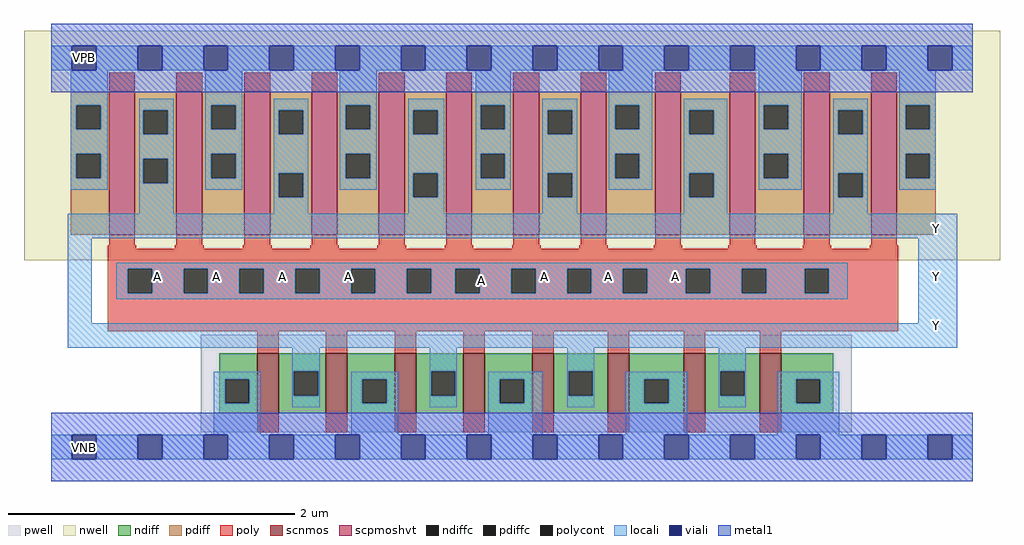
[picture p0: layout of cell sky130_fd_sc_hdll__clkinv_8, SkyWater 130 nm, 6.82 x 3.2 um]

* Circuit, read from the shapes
.subckt sky130_fd_sc_hdll__clkinv_8 A VGND VNB VPB VPWR Y
XM1 Y A VGND VNB sky130_fd_pr__nfet_01v8 w=0.42 l=0.15 m=8
XM2 Y A VPWR VPB sky130_fd_pr__pfet_01v8_hvt w=1 l=0.18 m=12
.ends

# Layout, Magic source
magic
tech sky130A
magscale 1 2
<< nwell >>
rect -38 261 1326 582
<< pwell >>
rect 209 21 1119 157
rect 30 -17 64 17
<< scnmos >>
rect 288 47 318 131
rect 384 47 414 131
rect 480 47 510 131
rect 576 47 606 131
rect 672 47 702 131
rect 778 47 808 131
rect 884 47 914 131
rect 990 47 1020 131
<< scpmoshvt >>
rect 81 297 117 497
rect 175 297 211 497
rect 270 297 306 497
rect 364 297 400 497
rect 458 297 494 497
rect 552 297 588 497
rect 646 297 682 497
rect 740 297 776 497
rect 844 297 880 497
rect 948 297 984 497
rect 1052 297 1088 497
rect 1146 297 1182 497
<< ndiff >>
rect 235 95 288 131
rect 235 61 243 95
rect 277 61 288 95
rect 235 47 288 61
rect 318 106 384 131
rect 318 72 339 106
rect 373 72 384 106
rect 318 47 384 72
rect 414 95 480 131
rect 414 61 435 95
rect 469 61 480 95
rect 414 47 480 61
rect 510 106 576 131
rect 510 72 531 106
rect 565 72 576 106
rect 510 47 576 72
rect 606 95 672 131
rect 606 61 627 95
rect 661 61 672 95
rect 606 47 672 61
rect 702 106 778 131
rect 702 72 723 106
rect 757 72 778 106
rect 702 47 778 72
rect 808 95 884 131
rect 808 61 829 95
rect 863 61 884 95
rect 808 47 884 61
rect 914 106 990 131
rect 914 72 935 106
rect 969 72 990 106
rect 914 47 990 72
rect 1020 95 1093 131
rect 1020 61 1041 95
rect 1075 61 1093 95
rect 1020 47 1093 61
<< pdiff >>
rect 27 478 81 497
rect 27 444 35 478
rect 69 444 81 478
rect 27 410 81 444
rect 27 376 35 410
rect 69 376 81 410
rect 27 297 81 376
rect 117 471 175 497
rect 117 437 129 471
rect 163 437 175 471
rect 117 403 175 437
rect 117 369 129 403
rect 163 369 175 403
rect 117 297 175 369
rect 211 478 270 497
rect 211 444 224 478
rect 258 444 270 478
rect 211 410 270 444
rect 211 376 224 410
rect 258 376 270 410
rect 211 297 270 376
rect 306 471 364 497
rect 306 437 318 471
rect 352 437 364 471
rect 306 383 364 437
rect 306 349 318 383
rect 352 349 364 383
rect 306 297 364 349
rect 400 478 458 497
rect 400 444 412 478
rect 446 444 458 478
rect 400 410 458 444
rect 400 376 412 410
rect 446 376 458 410
rect 400 297 458 376
rect 494 471 552 497
rect 494 437 506 471
rect 540 437 552 471
rect 494 383 552 437
rect 494 349 506 383
rect 540 349 552 383
rect 494 297 552 349
rect 588 478 646 497
rect 588 444 600 478
rect 634 444 646 478
rect 588 410 646 444
rect 588 376 600 410
rect 634 376 646 410
rect 588 297 646 376
rect 682 471 740 497
rect 682 437 694 471
rect 728 437 740 471
rect 682 383 740 437
rect 682 349 694 383
rect 728 349 740 383
rect 682 297 740 349
rect 776 478 844 497
rect 776 444 788 478
rect 822 444 844 478
rect 776 410 844 444
rect 776 376 788 410
rect 822 376 844 410
rect 776 297 844 376
rect 880 471 948 497
rect 880 437 892 471
rect 926 437 948 471
rect 880 383 948 437
rect 880 349 892 383
rect 926 349 948 383
rect 880 297 948 349
rect 984 478 1052 497
rect 984 444 996 478
rect 1030 444 1052 478
rect 984 410 1052 444
rect 984 376 996 410
rect 1030 376 1052 410
rect 984 297 1052 376
rect 1088 471 1146 497
rect 1088 437 1100 471
rect 1134 437 1146 471
rect 1088 383 1146 437
rect 1088 349 1100 383
rect 1134 349 1146 383
rect 1088 297 1146 349
rect 1182 478 1236 497
rect 1182 444 1194 478
rect 1228 444 1236 478
rect 1182 410 1236 444
rect 1182 376 1194 410
rect 1228 376 1236 410
rect 1182 297 1236 376
<< ndiffc >>
rect 243 61 277 95
rect 339 72 373 106
rect 435 61 469 95
rect 531 72 565 106
rect 627 61 661 95
rect 723 72 757 106
rect 829 61 863 95
rect 935 72 969 106
rect 1041 61 1075 95
<< pdiffc >>
rect 35 444 69 478
rect 35 376 69 410
rect 129 437 163 471
rect 129 369 163 403
rect 224 444 258 478
rect 224 376 258 410
rect 318 437 352 471
rect 318 349 352 383
rect 412 444 446 478
rect 412 376 446 410
rect 506 437 540 471
rect 506 349 540 383
rect 600 444 634 478
rect 600 376 634 410
rect 694 437 728 471
rect 694 349 728 383
rect 788 444 822 478
rect 788 376 822 410
rect 892 437 926 471
rect 892 349 926 383
rect 996 444 1030 478
rect 996 376 1030 410
rect 1100 437 1134 471
rect 1100 349 1134 383
rect 1194 444 1228 478
rect 1194 376 1228 410
<< poly >>
rect 81 497 117 523
rect 175 497 211 523
rect 270 497 306 523
rect 364 497 400 523
rect 458 497 494 523
rect 552 497 588 523
rect 646 497 682 523
rect 740 497 776 523
rect 844 497 880 523
rect 948 497 984 523
rect 1052 497 1088 523
rect 1146 497 1182 523
rect 81 282 117 297
rect 175 282 211 297
rect 270 282 306 297
rect 364 282 400 297
rect 458 282 494 297
rect 552 282 588 297
rect 646 282 682 297
rect 740 282 776 297
rect 844 282 880 297
rect 948 282 984 297
rect 1052 282 1088 297
rect 1146 282 1182 297
rect 79 277 119 282
rect 173 277 213 282
rect 268 277 308 282
rect 362 277 402 282
rect 456 277 496 282
rect 550 277 590 282
rect 644 277 684 282
rect 738 277 778 282
rect 842 277 882 282
rect 946 277 986 282
rect 1050 277 1090 282
rect 1144 277 1184 282
rect 79 249 1184 277
rect 79 215 107 249
rect 141 215 185 249
rect 219 215 263 249
rect 297 215 341 249
rect 375 215 419 249
rect 453 215 497 249
rect 531 215 565 249
rect 599 215 643 249
rect 677 215 721 249
rect 755 215 799 249
rect 833 215 887 249
rect 921 215 965 249
rect 999 215 1053 249
rect 1087 215 1184 249
rect 79 162 1184 215
rect 288 131 318 162
rect 384 131 414 162
rect 480 131 510 162
rect 576 131 606 162
rect 672 131 702 162
rect 778 131 808 162
rect 884 131 914 162
rect 990 131 1020 162
rect 288 21 318 47
rect 384 21 414 47
rect 480 21 510 47
rect 576 21 606 47
rect 672 21 702 47
rect 778 21 808 47
rect 884 21 914 47
rect 990 21 1020 47
<< polycont >>
rect 107 215 141 249
rect 185 215 219 249
rect 263 215 297 249
rect 341 215 375 249
rect 419 215 453 249
rect 497 215 531 249
rect 565 215 599 249
rect 643 215 677 249
rect 721 215 755 249
rect 799 215 833 249
rect 887 215 921 249
rect 965 215 999 249
rect 1053 215 1087 249
<< locali >>
rect 0 527 29 561
rect 63 527 121 561
rect 155 527 213 561
rect 247 527 305 561
rect 339 527 397 561
rect 431 527 489 561
rect 523 527 581 561
rect 615 527 673 561
rect 707 527 765 561
rect 799 527 857 561
rect 891 527 949 561
rect 983 527 1041 561
rect 1075 527 1133 561
rect 1167 527 1225 561
rect 1259 527 1288 561
rect 27 478 79 527
rect 27 444 35 478
rect 69 444 79 478
rect 27 410 79 444
rect 27 376 35 410
rect 69 376 79 410
rect 27 360 79 376
rect 123 471 171 487
rect 123 437 129 471
rect 163 437 171 471
rect 123 403 171 437
rect 123 369 129 403
rect 163 369 171 403
rect 123 326 171 369
rect 215 478 267 527
rect 215 444 224 478
rect 258 444 267 478
rect 215 410 267 444
rect 215 376 224 410
rect 258 376 267 410
rect 215 360 267 376
rect 311 471 359 487
rect 311 437 318 471
rect 352 437 359 471
rect 311 383 359 437
rect 311 349 318 383
rect 352 349 359 383
rect 403 478 455 527
rect 403 444 412 478
rect 446 444 455 478
rect 403 410 455 444
rect 403 376 412 410
rect 446 376 455 410
rect 403 360 455 376
rect 499 471 549 487
rect 499 437 506 471
rect 540 437 549 471
rect 499 383 549 437
rect 311 326 359 349
rect 499 349 506 383
rect 540 349 549 383
rect 593 478 642 527
rect 593 444 600 478
rect 634 444 642 478
rect 593 410 642 444
rect 593 376 600 410
rect 634 376 642 410
rect 593 360 642 376
rect 686 471 735 487
rect 686 437 694 471
rect 728 437 735 471
rect 686 383 735 437
rect 499 326 549 349
rect 686 349 694 383
rect 728 349 735 383
rect 779 478 840 527
rect 779 444 788 478
rect 822 444 840 478
rect 779 410 840 444
rect 779 376 788 410
rect 822 376 840 410
rect 779 360 840 376
rect 884 471 945 487
rect 884 437 892 471
rect 926 437 945 471
rect 884 383 945 437
rect 686 326 735 349
rect 884 349 892 383
rect 926 349 945 383
rect 989 478 1049 527
rect 989 444 996 478
rect 1030 444 1049 478
rect 989 410 1049 444
rect 989 376 996 410
rect 1030 376 1049 410
rect 989 360 1049 376
rect 1093 471 1141 487
rect 1093 437 1100 471
rect 1134 437 1141 471
rect 1093 383 1141 437
rect 884 326 945 349
rect 1093 349 1100 383
rect 1134 349 1141 383
rect 1185 478 1236 527
rect 1185 444 1194 478
rect 1228 444 1236 478
rect 1185 410 1236 444
rect 1185 376 1194 410
rect 1228 376 1236 410
rect 1185 360 1236 376
rect 1093 326 1141 349
rect 23 292 1266 326
rect 23 173 57 292
rect 91 249 1113 258
rect 91 215 107 249
rect 141 215 185 249
rect 219 215 263 249
rect 297 215 341 249
rect 375 215 419 249
rect 453 215 497 249
rect 531 215 565 249
rect 599 215 643 249
rect 677 215 721 249
rect 755 215 799 249
rect 833 215 887 249
rect 921 215 965 249
rect 999 215 1053 249
rect 1087 215 1113 249
rect 91 207 1113 215
rect 1212 173 1266 292
rect 23 139 1266 173
rect 337 106 375 139
rect 227 95 293 105
rect 227 61 243 95
rect 277 61 293 95
rect 227 17 293 61
rect 337 72 339 106
rect 373 72 375 106
rect 529 106 567 139
rect 337 56 375 72
rect 419 95 485 105
rect 419 61 435 95
rect 469 61 485 95
rect 419 17 485 61
rect 529 72 531 106
rect 565 72 567 106
rect 721 106 759 139
rect 529 56 567 72
rect 611 95 687 105
rect 611 61 627 95
rect 661 61 687 95
rect 611 17 687 61
rect 721 72 723 106
rect 757 72 759 106
rect 933 106 971 139
rect 721 56 759 72
rect 803 95 889 105
rect 803 61 829 95
rect 863 61 889 95
rect 803 17 889 61
rect 933 72 935 106
rect 969 72 971 106
rect 933 56 971 72
rect 1015 95 1101 105
rect 1015 61 1041 95
rect 1075 61 1101 95
rect 1015 17 1101 61
rect 0 -17 29 17
rect 63 -17 121 17
rect 155 -17 213 17
rect 247 -17 305 17
rect 339 -17 397 17
rect 431 -17 489 17
rect 523 -17 581 17
rect 615 -17 673 17
rect 707 -17 765 17
rect 799 -17 857 17
rect 891 -17 949 17
rect 983 -17 1041 17
rect 1075 -17 1133 17
rect 1167 -17 1225 17
rect 1259 -17 1288 17
<< viali >>
rect 29 527 63 561
rect 121 527 155 561
rect 213 527 247 561
rect 305 527 339 561
rect 397 527 431 561
rect 489 527 523 561
rect 581 527 615 561
rect 673 527 707 561
rect 765 527 799 561
rect 857 527 891 561
rect 949 527 983 561
rect 1041 527 1075 561
rect 1133 527 1167 561
rect 1225 527 1259 561
rect 29 -17 63 17
rect 121 -17 155 17
rect 213 -17 247 17
rect 305 -17 339 17
rect 397 -17 431 17
rect 489 -17 523 17
rect 581 -17 615 17
rect 673 -17 707 17
rect 765 -17 799 17
rect 857 -17 891 17
rect 949 -17 983 17
rect 1041 -17 1075 17
rect 1133 -17 1167 17
rect 1225 -17 1259 17
<< metal1 >>
rect 0 561 1288 592
rect 0 527 29 561
rect 63 527 121 561
rect 155 527 213 561
rect 247 527 305 561
rect 339 527 397 561
rect 431 527 489 561
rect 523 527 581 561
rect 615 527 673 561
rect 707 527 765 561
rect 799 527 857 561
rect 891 527 949 561
rect 983 527 1041 561
rect 1075 527 1133 561
rect 1167 527 1225 561
rect 1259 527 1288 561
rect 0 496 1288 527
rect 0 17 1288 48
rect 0 -17 29 17
rect 63 -17 121 17
rect 155 -17 213 17
rect 247 -17 305 17
rect 339 -17 397 17
rect 431 -17 489 17
rect 523 -17 581 17
rect 615 -17 673 17
rect 707 -17 765 17
rect 799 -17 857 17
rect 891 -17 949 17
rect 983 -17 1041 17
rect 1075 -17 1133 17
rect 1167 -17 1225 17
rect 1259 -17 1288 17
rect 0 -48 1288 -17
<< labels >>
flabel locali s 1220 289 1254 323 0 FreeSans 400 0 0 0 Y
port 6 nsew signal output
flabel locali s 1220 221 1254 255 0 FreeSans 400 0 0 0 Y
port 6 nsew signal output
flabel locali s 1220 153 1254 187 0 FreeSans 400 0 0 0 Y
port 6 nsew signal output
flabel locali s 91 207 1113 258 0 FreeSans 400 0 0 0 A
port 1 nsew signal input
flabel locali s 415 238 415 238 0 FreeSans 400 0 0 0 A
port 1 nsew
flabel locali s 323 238 323 238 0 FreeSans 400 0 0 0 A
port 1 nsew
flabel locali s 231 238 231 238 0 FreeSans 400 0 0 0 A
port 1 nsew
flabel locali s 856 221 890 255 0 FreeSans 400 0 0 0 A
port 1 nsew
flabel locali s 762 221 796 255 0 FreeSans 400 0 0 0 A
port 1 nsew
flabel locali s 673 221 707 255 0 FreeSans 400 0 0 0 A
port 1 nsew
flabel locali s 599 238 599 238 0 FreeSans 400 0 0 0 A
port 1 nsew
flabel locali s 132 221 166 255 0 FreeSans 400 0 0 0 A
port 1 nsew
flabel pwell s 30 -17 64 17 0 FreeSans 200 0 0 0 VNB
port 3 nsew ground bidirectional
flabel nwell s 30 527 64 561 0 FreeSans 200 0 0 0 VPB
port 4 nsew power bidirectional
flabel metal1 s 30 -17 64 17 0 FreeSans 200 0 0 0 VGND
port 2 nsew ground bidirectional
flabel metal1 s 30 527 64 561 0 FreeSans 200 0 0 0 VPWR
port 5 nsew power bidirectional
rlabel comment s 0 0 0 0 4 clkinv_8
<< properties >>
string LEFsite unithd
string LEFclass CORE
string FIXED_BBOX 0 0 1288 544
string GDS_FILE $PDKPATH/libs.ref/sky130_fd_sc_hdll/gds/sky130_fd_sc_hdll.gds
string LEFsymmetry X Y R90
string GDS_END 2027176
string GDS_START 2017442
string LEFproperties maskLayoutSubType "abstract" prCellType "standard" originalViewName "layout"
<< end >>
